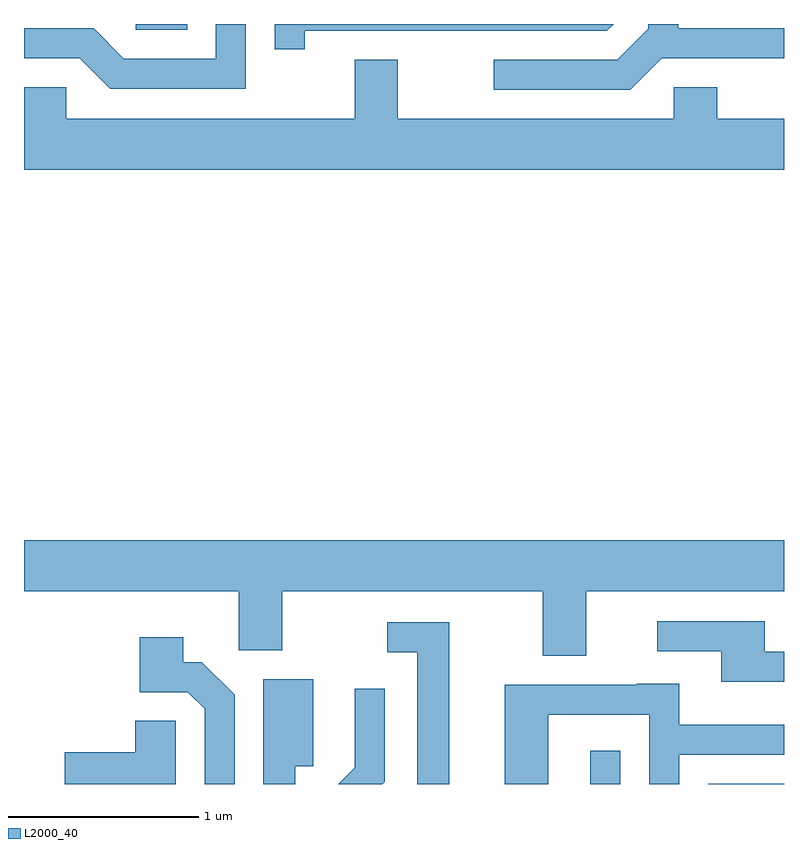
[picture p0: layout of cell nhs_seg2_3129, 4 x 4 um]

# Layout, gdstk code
import gdstk
lib = gdstk.Library(unit=1e-6, precision=1e-09)
def R(c, l, rs):  # rectangles x0, y0, x1, y1
    for r in rs: c.add(gdstk.rectangle(r[:2], r[2:], *l))
def P(c, l, *ps):  # polygons
    for p in ps: c.add(gdstk.Polygon(p, *l))
L2000_40 = (2000, 40)

nhs_seg2_3129 = lib.new_cell('nhs_seg2_3129')
R(nhs_seg2_3129, L2000_40, [(280.591,991.802,280.749,991.978), (281.211,991.802,281.611,991.804), (278.198,995.771,278.469,995.802)])
P(nhs_seg2_3129, L2000_40, [(278.779,995.802),(278.621,995.802),(278.621,995.619),(278.137,995.619),(277.977,995.779),(277.611,995.779),(277.611,995.621),(277.904,995.621),(278.064,995.461),(278.779,995.461)],
  [(279.089,995.766),(280.679,995.766),(280.714,995.802),(278.931,995.802),(278.931,995.668),(279.089,995.668)],
  [(280.967,995.621),(281.611,995.621),(281.611,995.779),(281.054,995.779),(281.054,995.802),(280.896,995.802),(280.896,995.777),(280.734,995.614),(280.083,995.614),(280.083,995.456),(280.802,995.456)],
  [(281.611,995.304),(281.259,995.304),(281.259,995.469),(281.031,995.469),(281.031,995.304),(279.579,995.304),(279.579,995.614),(279.351,995.614),(279.351,995.304),(277.834,995.304),(277.834,995.469),(277.611,995.469),(277.611,995.036),(281.611,995.036)],
  [(280.569,992.816),(281.611,992.816),(281.611,993.084),(277.611,993.084),(277.611,992.816),(278.741,992.816),(278.741,992.506),(278.969,992.506),(278.969,992.816),(280.341,992.816),(280.341,992.476),(280.569,992.476)],
  [(281.611,992.499),(281.509,992.499),(281.509,992.659),(280.943,992.659),(280.943,992.501),(281.281,992.501),(281.281,992.341),(281.611,992.341)],
  [(279.849,992.654),(279.523,992.654),(279.523,992.496),(279.681,992.496),(279.681,991.802),(279.849,991.802)],
  [(278.719,992.272),(278.547,992.444),(278.449,992.444),(278.449,992.574),(278.221,992.574),(278.221,992.286),(278.474,992.286),(278.561,992.199),(278.561,991.802),(278.719,991.802)],
  [(279.039,991.896),(279.134,991.896),(279.134,992.354),(278.871,992.354),(278.871,991.802),(279.039,991.802)],
  [(280.369,992.166),(280.901,992.166),(280.901,991.802),(281.059,991.802),(281.059,991.956),(281.611,991.956),(281.611,992.114),(281.059,992.114),(281.059,992.329),(280.835,992.329),(280.835,992.324),(280.141,992.324),(280.141,991.802),(280.369,991.802)],
  [(279.509,991.814),(279.509,992.303),(279.351,992.303),(279.351,991.887),(279.266,991.802),(279.497,991.802)],
  [(278.409,992.134),(278.196,992.134),(278.196,991.969),(277.826,991.969),(277.826,991.802),(278.409,991.802)])

lib.write_gds('nhs_seg2_3129.gds')
